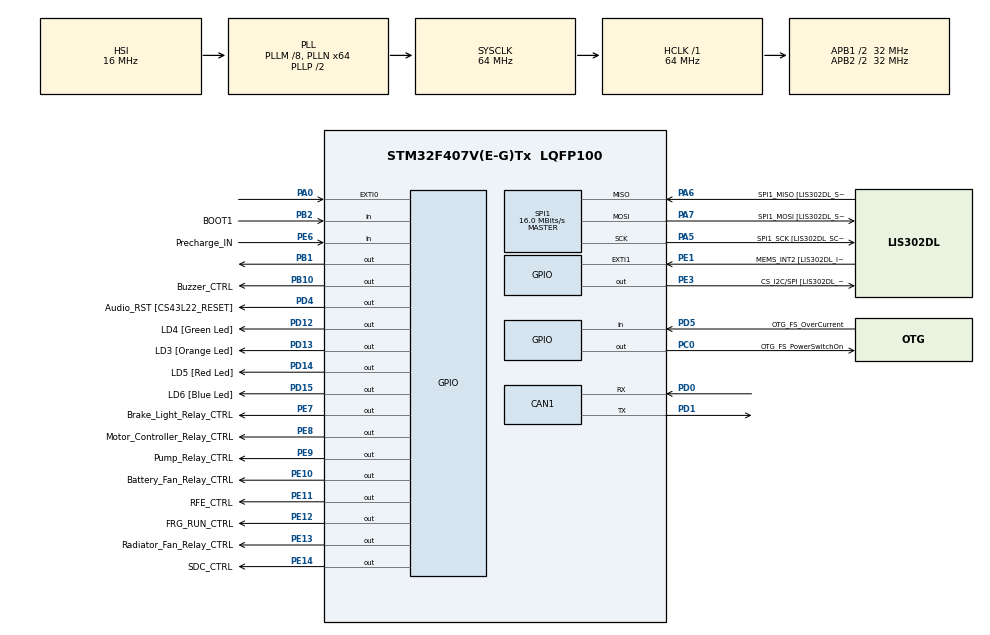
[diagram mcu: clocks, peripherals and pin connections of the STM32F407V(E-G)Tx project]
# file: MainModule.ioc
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CAN1.ABOM=ENABLE
CAN1.BS1=CAN_BS1_2TQ
CAN1.BS2=CAN_BS2_1TQ
CAN1.CalculateTimeBit=2000
CAN1.CalculateTimeQuantum=500.0
CAN1.SJW=CAN_SJW_2TQ
FREERTOS.Tasks01=defaultTask,0,128,StartDefaultTask,Default
Mcu.Family=STM32F4
Mcu.Name=STM32F407V(E-G)Tx
Mcu.Package=LQFP100
NVIC.CAN1_RX0_IRQn=true\:5\:0\:false\:false\:true\:true
NVIC.CAN1_RX1_IRQn=true\:5\:0\:false\:false\:true\:true
NVIC.CAN1_TX_IRQn=true\:5\:0\:false\:false\:true\:true
NVIC.EXTI0_IRQn=true\:5\:0\:false\:false\:true\:true
NVIC.PriorityGroup=NVIC_PRIORITYGROUP_4
NVIC.TIM1_UP_TIM10_IRQn=true\:0\:0\:false\:false\:true\:false
NVIC.TimeBase=TIM1_UP_TIM10_IRQn
NVIC.TimeBaseIP=TIM1
PA0-WKUP.GPIO_PuPd=GPIO_PULLDOWN
PA0-WKUP.Signal=GPXTI0
PA1.GPIO_Label=Throttle_1
PA1.Signal=ADCx_IN1
PA10.GPIO_Label=OTG_FS_ID
PA10.GPIO_Mode=GPIO_MODE_AF_PP
PA10.GPIO_PuPd=GPIO_NOPULL
PA10.GPIO_Speed=GPIO_SPEED_FREQ_LOW
PA10.Signal=USB_OTG_FS_ID
PA11.GPIO_Label=OTG_FS_DM
PA11.GPIO_Mode=GPIO_MODE_AF_PP
PA11.GPIO_PuPd=GPIO_NOPULL
PA11.GPIO_Speed=GPIO_SPEED_FREQ_LOW
PA11.Signal=USB_OTG_FS_DM
PA12.GPIO_Label=OTG_FS_DP
PA12.GPIO_Mode=GPIO_MODE_AF_PP
PA12.GPIO_PuPd=GPIO_NOPULL
PA12.GPIO_Speed=GPIO_SPEED_FREQ_LOW
PA12.Signal=USB_OTG_FS_DP
PA13.GPIO_Label=SWDIO
PA13.Mode=Serial_Wire
PA13.Signal=SYS_JTMS-SWDIO
PA14.GPIO_Label=SWCLK
PA14.Mode=Serial_Wire
PA14.Signal=SYS_JTCK-SWCLK
PA2.GPIO_Label=Throttle_2
PA2.Signal=ADCx_IN2
PA4.GPIO_Label=I2S3_WS [CS43L22_LRCK]
PA4.GPIO_Mode=GPIO_MODE_AF_PP
PA4.GPIO_PuPd=GPIO_NOPULL
PA4.GPIO_Speed=GPIO_SPEED_FREQ_LOW
PA4.Signal=I2S3_WS
PA5.GPIO_Label=SPI1_SCK [LIS302DL_SCL/SPC]
PA5.GPIO_Mode=GPIO_MODE_AF_PP
PA5.GPIO_PuPd=GPIO_NOPULL
PA5.GPIO_Speed=GPIO_SPEED_FREQ_LOW
PA5.Mode=Full_Duplex_Master
PA5.Signal=SPI1_SCK
PA6.GPIO_Label=SPI1_MISO [LIS302DL_SDO]
PA6.GPIO_Mode=GPIO_MODE_AF_PP
PA6.GPIO_PuPd=GPIO_NOPULL
PA6.GPIO_Speed=GPIO_SPEED_FREQ_LOW
PA6.Mode=Full_Duplex_Master
PA6.Signal=SPI1_MISO
PA7.GPIO_Label=SPI1_MOSI [LIS302DL_SDA/SDI/SDO]
PA7.GPIO_Mode=GPIO_MODE_AF_PP
PA7.GPIO_PuPd=GPIO_NOPULL
PA7.GPIO_Speed=GPIO_SPEED_FREQ_LOW
PA7.Mode=Full_Duplex_Master
PA7.Signal=SPI1_MOSI
PA9.GPIO_Label=VBUS_FS
PA9.GPIO_Mode=GPIO_MODE_INPUT
PA9.GPIO_PuPd=GPIO_NOPULL
PA9.Signal=USB_OTG_FS_VBUS
PB1.Signal=GPIO_Output
PB10.GPIO_Label=Buzzer_CTRL
PB10.Signal=GPIO_Output
PB2.GPIO_Label=BOOT1
PB2.GPIO_Mode=GPIO_MODE_INPUT
PB2.GPIO_PuPd=GPIO_NOPULL
PB2.Signal=GPIO_Input
PB3.GPIO_Label=SWO
PB3.Signal=SYS_JTDO-SWO
PB6.GPIO_Label=Audio_SCL [CS43L22_SCL]
PB6.GPIO_Mode=GPIO_MODE_AF_OD
PB6.GPIO_PuPd=GPIO_NOPULL
PB6.GPIO_Speed=GPIO_SPEED_FREQ_LOW
PB6.Signal=I2C1_SCL
PB9.GPIO_Label=Audio_SDA [CS43L22_SDA]
PB9.GPIO_Mode=GPIO_MODE_AF_OD
PB9.GPIO_PuPd=GPIO_NOPULL
PB9.GPIO_Speed=GPIO_SPEED_FREQ_LOW
PB9.Signal=I2C1_SDA
PC0.GPIO_Label=OTG_FS_PowerSwitchOn
PC0.GPIO_PuPd=GPIO_NOPULL
PC0.GPIO_Speed=GPIO_SPEED_FREQ_LOW
PC0.PinState=GPIO_PIN_SET
PC0.Signal=GPIO_Output
PC1.GPIO_Label=Brake_1
PC1.Signal=ADCx_IN11
PC10.GPIO_Label=I2S3_SCK [CS43L22_SCLK]
PC10.GPIO_Mode=GPIO_MODE_AF_PP
PC10.GPIO_PuPd=GPIO_NOPULL
PC10.GPIO_Speed=GPIO_SPEED_FREQ_LOW
PC10.Signal=I2S3_CK
PC12.GPIO_Label=I2S3_SD [CS43L22_SDIN]
PC12.GPIO_Mode=GPIO_MODE_AF_PP
PC12.GPIO_PuPd=GPIO_NOPULL
PC12.GPIO_Speed=GPIO_SPEED_FREQ_LOW
PC12.Signal=I2S3_SD
PC14-OSC32_IN.GPIO_Label=PC14-OSC32_IN
PC14-OSC32_IN.Signal=RCC_OSC32_IN
PC15-OSC32_OUT.GPIO_Label=PC15-OSC32_OUT
PC15-OSC32_OUT.Signal=RCC_OSC32_OUT
PC2.GPIO_Label=Brake_2
PC2.Signal=ADCx_IN12
PC3.GPIO_Label=PDM_OUT [MP45DT02_DOUT]
PC3.GPIO_Mode=GPIO_MODE_AF_PP
PC3.GPIO_PuPd=GPIO_NOPULL
PC3.GPIO_Speed=GPIO_SPEED_FREQ_LOW
PC3.Signal=I2S2_SD
PC7.GPIO_Label=I2S3_MCK [CS43L22_MCLK]
PC7.GPIO_Mode=GPIO_MODE_AF_PP
PC7.GPIO_PuPd=GPIO_NOPULL
PC7.GPIO_Speed=GPIO_SPEED_FREQ_LOW
PC7.Signal=I2S3_MCK
PD0.Mode=Master
PD0.Signal=CAN1_RX
PD1.Mode=Master
PD1.Signal=CAN1_TX
PD12.GPIO_Label=LD4 [Green Led]
PD12.GPIO_PuPd=GPIO_NOPULL
PD12.GPIO_Speed=GPIO_SPEED_FREQ_LOW
PD12.Signal=GPIO_Output
PD13.GPIO_Label=LD3 [Orange Led]
PD13.GPIO_PuPd=GPIO_NOPULL
PD13.GPIO_Speed=GPIO_SPEED_FREQ_LOW
PD13.Signal=GPIO_Output
PD14.GPIO_Label=LD5 [Red Led]
PD14.GPIO_PuPd=GPIO_NOPULL
PD14.GPIO_Speed=GPIO_SPEED_FREQ_LOW
PD14.Signal=GPIO_Output
PD15.GPIO_Label=LD6 [Blue Led]
PD15.GPIO_PuPd=GPIO_NOPULL
PD15.GPIO_Speed=GPIO_SPEED_FREQ_LOW
PD15.Signal=GPIO_Output
PD4.GPIO_Label=Audio_RST [CS43L22_RESET]
PD4.GPIO_PuPd=GPIO_NOPULL
PD4.GPIO_Speed=GPIO_SPEED_FREQ_LOW
PD4.Signal=GPIO_Output
PD5.GPIO_Label=OTG_FS_OverCurrent
PD5.GPIO_Mode=GPIO_MODE_INPUT
PD5.GPIO_PuPd=GPIO_NOPULL
PD5.Signal=GPIO_Input
PE1.GPIO_Label=MEMS_INT2 [LIS302DL_INT2]
PE1.GPIO_ModeDefaultEXTI=GPIO_MODE_EVT_RISING
PE1.GPIO_PuPd=GPIO_NOPULL
PE1.Signal=GPXTI1
PE10.GPIO_Label=Battery_Fan_Relay_CTRL
PE10.Signal=GPIO_Output
PE11.GPIO_Label=RFE_CTRL
PE11.Signal=GPIO_Output
PE12.GPIO_Label=FRG_RUN_CTRL
PE12.Signal=GPIO_Output
PE13.GPIO_Label=Radiator_Fan_Relay_CTRL
PE13.Signal=GPIO_Output
PE14.GPIO_Label=SDC_CTRL
PE14.Signal=GPIO_Output
PE3.GPIO_Label=CS_I2C/SPI [LIS302DL_CS_I2C/SPI]
PE3.GPIO_PuPd=GPIO_NOPULL
PE3.GPIO_Speed=GPIO_SPEED_FREQ_LOW
PE3.Signal=GPIO_Output
PE6.GPIO_Label=Precharge_IN
PE6.Signal=GPIO_Input
PE7.GPIO_Label=Brake_Light_Relay_CTRL
PE7.Signal=GPIO_Output
PE8.GPIO_Label=Motor_Controller_Relay_CTRL
PE8.Signal=GPIO_Output
PE9.GPIO_Label=Pump_Relay_CTRL
PE9.Signal=GPIO_Output
PH0-OSC_IN.GPIO_Label=PH0-OSC_IN
PH0-OSC_IN.Signal=RCC_OSC_IN
PH1-OSC_OUT.GPIO_Label=PH1-OSC_OUT
PH1-OSC_OUT.Signal=RCC_OSC_OUT
ProjectManager.HeapSize=0x400
ProjectManager.StackSize=0x800
ProjectManager.TargetToolchain=SW4STM32
RCC.48MHZClocksFreq_Value=18285714.285714287
RCC.AHBFreq_Value=64000000
RCC.APB1CLKDivider=RCC_HCLK_DIV2
RCC.APB1Freq_Value=32000000
RCC.APB1TimFreq_Value=64000000
RCC.APB2CLKDivider=RCC_HCLK_DIV2
RCC.APB2Freq_Value=32000000
RCC.APB2TimFreq_Value=64000000
RCC.CortexFreq_Value=64000000
RCC.HCLKFreq_Value=64000000
RCC.HSE_VALUE=8000000
RCC.HSI_VALUE=16000000
RCC.LSE_VALUE=32768
RCC.PLLM=8
RCC.PLLN=64
RCC.PLLQ=7
RCC.SYSCLKFreq_VALUE=64000000
RCC.SYSCLKSource=RCC_SYSCLKSOURCE_PLLCLK
RCC.VCOOutputFreq_Value=128000000
SH.ADCx_IN1.0=ADC2_IN1
SH.ADCx_IN11.0=ADC1_IN11
SH.ADCx_IN12.0=ADC1_IN12
SH.ADCx_IN2.0=ADC2_IN2
SPI1.CalculateBaudRate=16.0 MBits/s
SPI1.Direction=SPI_DIRECTION_2LINES
SPI1.Mode=SPI_MODE_MASTER
SPI1.VirtualType=VM_MASTER
VP_FREERTOS_VS_ENABLE.Mode=Enabled
VP_SYS_VS_tim1.Mode=TIM1
board=STM32F407G-DISC1

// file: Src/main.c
/**
  ******************************************************************************
  * File Name          : main.c
  * Description        : Main program body
  ******************************************************************************
  * This notice applies to any and all portions of this file
  * that are not between comment pairs USER CODE BEGIN and
  * USER CODE END. Other portions of this file, whether
  * inserted by the user or by software development tools
  * are owned by their respective copyright owners.
  *
  * Copyright (c) 2018 STMicroelectronics International N.V.
  * All rights reserved.
  *
  * Redistribution and use in source and binary forms, with or without
  * modification, are permitted, provided that the following conditions are met:
  *
  * 1. Redistribution of source code must retain the above copyright notice,
  *    this list of conditions and the following disclaimer.
  * 2. Redistributions in binary form must reproduce the above copyright notice,
  *    this list of conditions and the following disclaimer in the documentation
  *    and/or other materials provided with the distribution.
  * 3. Neither the name of STMicroelectronics nor the names of other
  *    contributors to this software may be used to endorse or promote products
  *    derived from this software without specific written permission.
  * 4. This software, including modifications and/or derivative works of this
  *    software, must execute solely and exclusively on microcontroller or
  *    microprocessor devices manufactured by or for STMicroelectronics.
  * 5. Redistribution and use of this software other than as permitted under
  *    this license is void and will automatically terminate your rights under
  *    this license.
  *
  * THIS SOFTWARE IS PROVIDED BY STMICROELECTRONICS AND CONTRIBUTORS "AS IS"
  * AND ANY EXPRESS, IMPLIED OR STATUTORY WARRANTIES, INCLUDING, BUT NOT
  * LIMITED TO, THE IMPLIED WARRANTIES OF MERCHANTABILITY, FITNESS FOR A
  * PARTICULAR PURPOSE AND NON-INFRINGEMENT OF THIRD PARTY INTELLECTUAL PROPERTY
  * RIGHTS ARE DISCLAIMED TO THE FULLEST EXTENT PERMITTED BY LAW. IN NO EVENT
  * SHALL STMICROELECTRONICS OR CONTRIBUTORS BE LIABLE FOR ANY DIRECT, INDIRECT,
  * INCIDENTAL, SPECIAL, EXEMPLARY, OR CONSEQUENTIAL DAMAGES (INCLUDING, BUT NOT
  * LIMITED TO, PROCUREMENT OF SUBSTITUTE GOODS OR SERVICES; LOSS OF USE, DATA,
  * OR PROFITS; OR BUSINESS INTERRUPTION) HOWEVER CAUSED AND ON ANY THEORY OF
  * LIABILITY, WHETHER IN CONTRACT, STRICT LIABILITY, OR TORT (INCLUDING
  * NEGLIGENCE OR OTHERWISE) ARISING IN ANY WAY OUT OF THE USE OF THIS SOFTWARE,
  * EVEN IF ADVISED OF THE POSSIBILITY OF SUCH DAMAGE.
  *
  ******************************************************************************
  */
#include "main.h"
#include "stm32f4xx_hal.h"
#include "cmsis_os.h"

/* USER CODE BEGIN Includes */
#include "car.h"
#include "BMS.h"
#include "WheelModule.h"
#include "PedalBox.h"
#include "CANProcess.h"
#include "accelerometer.h"
/* USER CODE END Includes */

CAN_HandleTypeDef hcan1;

SPI_HandleTypeDef hspi1;

osThreadId defaultTaskHandle;

/* USER CODE BEGIN PV */
/* Private variables ---------------------------------------------------------*/
QueueHandle_t q_txcan;
SemaphoreHandle_t m_CAN;
volatile Car_t car;
BMS_t BMS;
WheelModule_t wheelModule;
/* USER CODE END PV */

void SystemClock_Config(void);
static void MX_GPIO_Init(void);
static void MX_CAN1_Init(void);
static void MX_SPI1_Init(void);
void StartDefaultTask(void const * argument);

/* USER CODE BEGIN PFP */
/* Private function prototypes -----------------------------------------------*/

/* USER CODE END PFP */

/* USER CODE BEGIN 0 */
__attribute__((__section__(".user_data"))) const uint8_t* variable;
//RTOS_CAN_t rtos_can1;

/* USER CODE END 0 */

int main(void)
{

  /* MCU Configuration----------------------------------------------------------*/

  /* Reset of all peripherals, Initializes the Fl6jash interface and the Systick. */
  HAL_Init();

  /* Configure the system clock */
  SystemClock_Config();

  /* Initialize all configured peripherals */
  MX_GPIO_Init();
  MX_CAN1_Init();
  MX_SPI1_Init();

  /* USER CODE BEGIN 2 */
  //START HERE///////////////////////////////////////////////////////////////
  carInit();
  Accelero_Init(Sensitivity_4G);
  CANFilterConfig();
  initRTOSObjects();

  //TaskHandle_t taskhandle;
  //xTaskCreate(taskBlink, "blink", 128, NULL, 5, &taskhandle);
  /* USER CODE END 2 */

  /* Create the thread(s) */
  /* definition and creation of defaultTask */
  osThreadDef(defaultTask, StartDefaultTask, osPriorityNormal, 0, 128);
  defaultTaskHandle = osThreadCreate(osThread(defaultTask), NULL);

  /* Start scheduler */
  osKernelStart();

  /* We should never get here as control is now taken by the scheduler */

  /* Infinite loop */
  while (1)
  {

  }

}

/** System Clock Configuration
*/
void SystemClock_Config(void)
{

  RCC_OscInitTypeDef RCC_OscInitStruct;
  RCC_ClkInitTypeDef RCC_ClkInitStruct;

    /**Configure the main internal regulator output voltage
    */
  __HAL_RCC_PWR_CLK_ENABLE();

  __HAL_PWR_VOLTAGESCALING_CONFIG(PWR_REGULATOR_VOLTAGE_SCALE1);

    /**Initializes the CPU, AHB and APB busses clocks
    */
  RCC_OscInitStruct.OscillatorType = RCC_OSCILLATORTYPE_HSI;
  RCC_OscInitStruct.HSIState = RCC_HSI_ON;
  RCC_OscInitStruct.HSICalibrationValue = 16;
  RCC_OscInitStruct.PLL.PLLState = RCC_PLL_ON;
  RCC_OscInitStruct.PLL.PLLSource = RCC_PLLSOURCE_HSI;
  RCC_OscInitStruct.PLL.PLLM = 8;
  RCC_OscInitStruct.PLL.PLLN = 64;
  RCC_OscInitStruct.PLL.PLLP = RCC_PLLP_DIV2;
  RCC_OscInitStruct.PLL.PLLQ = 7;
  if (HAL_RCC_OscConfig(&RCC_OscInitStruct) != HAL_OK)
  {
    _Error_Handler(__FILE__, __LINE__);
  }

    /**Initializes the CPU, AHB and APB busses clocks
    */
  RCC_ClkInitStruct.ClockType = RCC_CLOCKTYPE_HCLK|RCC_CLOCKTYPE_SYSCLK
                              |RCC_CLOCKTYPE_PCLK1|RCC_CLOCKTYPE_PCLK2;
  RCC_ClkInitStruct.SYSCLKSource = RCC_SYSCLKSOURCE_PLLCLK;
  RCC_ClkInitStruct.AHBCLKDivider = RCC_SYSCLK_DIV1;
  RCC_ClkInitStruct.APB1CLKDivider = RCC_HCLK_DIV2;
  RCC_ClkInitStruct.APB2CLKDivider = RCC_HCLK_DIV2;

  if (HAL_RCC_ClockConfig(&RCC_ClkInitStruct, FLASH_LATENCY_2) != HAL_OK)
  {
    _Error_Handler(__FILE__, __LINE__);
  }

    /**Configure the Systick interrupt time
    */
  HAL_SYSTICK_Config(HAL_RCC_GetHCLKFreq()/1000);

    /**Configure the Systick
    */
  HAL_SYSTICK_CLKSourceConfig(SYSTICK_CLKSOURCE_HCLK);

  /* SysTick_IRQn interrupt configuration */
  HAL_NVIC_SetPriority(SysTick_IRQn, 15, 0);
}

/* CAN1 init function */
static void MX_CAN1_Init(void)
{

  hcan1.Instance = CAN1;
  hcan1.Init.Prescaler = 16;
  hcan1.Init.Mode = CAN_MODE_NORMAL;
  hcan1.Init.SJW = CAN_SJW_2TQ;
  hcan1.Init.BS1 = CAN_BS1_2TQ;
  hcan1.Init.BS2 = CAN_BS2_1TQ;
  hcan1.Init.TTCM = DISABLE;
  hcan1.Init.ABOM = ENABLE;
  hcan1.Init.AWUM = DISABLE;
  hcan1.Init.NART = DISABLE;
  hcan1.Init.RFLM = DISABLE;
  hcan1.Init.TXFP = DISABLE;
  if (HAL_CAN_Init(&hcan1) != HAL_OK)
  {
    _Error_Handler(__FILE__, __LINE__);
  }

}

/* SPI1 init function */
static void MX_SPI1_Init(void)
{

  hspi1.Instance = SPI1;
  hspi1.Init.Mode = SPI_MODE_MASTER;
  hspi1.Init.Direction = SPI_DIRECTION_2LINES;
  hspi1.Init.DataSize = SPI_DATASIZE_8BIT;
  hspi1.Init.CLKPolarity = SPI_POLARITY_LOW;
  hspi1.Init.CLKPhase = SPI_PHASE_1EDGE;
  hspi1.Init.NSS = SPI_NSS_SOFT;
  hspi1.Init.BaudRatePrescaler = SPI_BAUDRATEPRESCALER_2;
  hspi1.Init.FirstBit = SPI_FIRSTBIT_MSB;
  hspi1.Init.TIMode = SPI_TIMODE_DISABLE;
  hspi1.Init.CRCCalculation = SPI_CRCCALCULATION_DISABLE;
  hspi1.Init.CRCPolynomial = 10;
  if (HAL_SPI_Init(&hspi1) != HAL_OK)
  {
    _Error_Handler(__FILE__, __LINE__);
  }

}

/** Configure pins as
        * Analog
        * Input
        * Output
        * EVENT_OUT
        * EXTI
     PC1   ------> ADCx_IN11
     PC2   ------> ADCx_IN12
     PC3   ------> I2S2_SD
     PA1   ------> ADCx_IN1
     PA2   ------> ADCx_IN2
     PA4   ------> I2S3_WS
     PC7   ------> I2S3_MCK
     PA9   ------> USB_OTG_FS_VBUS
     PA10   ------> USB_OTG_FS_ID
     PA11   ------> USB_OTG_FS_DM
     PA12   ------> USB_OTG_FS_DP
     PC10   ------> I2S3_CK
     PC12   ------> I2S3_SD
     PB6   ------> I2C1_SCL
     PB9   ------> I2C1_SDA
*/
static void MX_GPIO_Init(void)
{

  GPIO_InitTypeDef GPIO_InitStruct;

  /* GPIO Ports Clock Enable */
  __HAL_RCC_GPIOE_CLK_ENABLE();
  __HAL_RCC_GPIOC_CLK_ENABLE();
  __HAL_RCC_GPIOH_CLK_ENABLE();
  __HAL_RCC_GPIOA_CLK_ENABLE();
  __HAL_RCC_GPIOB_CLK_ENABLE();
  __HAL_RCC_GPIOD_CLK_ENABLE();

  /*Configure GPIO pin Output Level */
  HAL_GPIO_WritePin(GPIOE, CS_I2C_SPI_Pin|Brake_Light_Relay_CTRL_Pin|Motor_Controller_Relay_CTRL_Pin|Pump_Relay_CTRL_Pin
                          |Battery_Fan_Relay_CTRL_Pin|RFE_CTRL_Pin|FRG_RUN_CTRL_Pin|Radiator_Fan_Relay_CTRL_Pin
                          |SDC_CTRL_Pin, GPIO_PIN_RESET);

  /*Configure GPIO pin Output Level */
  HAL_GPIO_WritePin(OTG_FS_PowerSwitchOn_GPIO_Port, OTG_FS_PowerSwitchOn_Pin, GPIO_PIN_SET);

  /*Configure GPIO pin Output Level */
  HAL_GPIO_WritePin(GPIOB, GPIO_PIN_1|Buzzer_CTRL_Pin, GPIO_PIN_RESET);

  /*Configure GPIO pin Output Level */
  HAL_GPIO_WritePin(GPIOD, LD4_Pin|LD3_Pin|LD5_Pin|LD6_Pin
                          |Audio_RST_Pin, GPIO_PIN_RESET);

  /*Configure GPIO pins : CS_I2C_SPI_Pin Brake_Light_Relay_CTRL_Pin Motor_Controller_Relay_CTRL_Pin Pump_Relay_CTRL_Pin
                           Battery_Fan_Relay_CTRL_Pin RFE_CTRL_Pin FRG_RUN_CTRL_Pin Radiator_Fan_Relay_CTRL_Pin
                           SDC_CTRL_Pin */
  GPIO_InitStruct.Pin = CS_I2C_SPI_Pin|Brake_Light_Relay_CTRL_Pin|Motor_Controller_Relay_CTRL_Pin|Pump_Relay_CTRL_Pin
                          |Battery_Fan_Relay_CTRL_Pin|RFE_CTRL_Pin|FRG_RUN_CTRL_Pin|Radiator_Fan_Relay_CTRL_Pin
                          |SDC_CTRL_Pin;
  GPIO_InitStruct.Mode = GPIO_MODE_OUTPUT_PP;
  GPIO_InitStruct.Pull = GPIO_NOPULL;
  GPIO_InitStruct.Speed = GPIO_SPEED_FREQ_LOW;
  HAL_GPIO_Init(GPIOE, &GPIO_InitStruct);

  /*Configure GPIO pin : Precharge_IN_Pin */
  GPIO_InitStruct.Pin = Precharge_IN_Pin;
  GPIO_InitStruct.Mode = GPIO_MODE_INPUT;
  GPIO_InitStruct.Pull = GPIO_NOPULL;
  HAL_GPIO_Init(Precharge_IN_GPIO_Port, &GPIO_InitStruct);

  /*Configure GPIO pin : OTG_FS_PowerSwitchOn_Pin */
  GPIO_InitStruct.Pin = OTG_FS_PowerSwitchOn_Pin;
  GPIO_InitStruct.Mode = GPIO_MODE_OUTPUT_PP;
  GPIO_InitStruct.Pull = GPIO_NOPULL;
  GPIO_InitStruct.Speed = GPIO_SPEED_FREQ_LOW;
  HAL_GPIO_Init(OTG_FS_PowerSwitchOn_GPIO_Port, &GPIO_InitStruct);

  /*Configure GPIO pins : Brake_1_Pin Brake_2_Pin */
  GPIO_InitStruct.Pin = Brake_1_Pin|Brake_2_Pin;
  GPIO_InitStruct.Mode = GPIO_MODE_ANALOG;
  GPIO_InitStruct.Pull = GPIO_NOPULL;
  HAL_GPIO_Init(GPIOC, &GPIO_InitStruct);

  /*Configure GPIO pin : PDM_OUT_Pin */
  GPIO_InitStruct.Pin = PDM_OUT_Pin;
  GPIO_InitStruct.Mode = GPIO_MODE_AF_PP;
  GPIO_InitStruct.Pull = GPIO_NOPULL;
  GPIO_InitStruct.Speed = GPIO_SPEED_FREQ_LOW;
  GPIO_InitStruct.Alternate = GPIO_AF5_SPI2;
  HAL_GPIO_Init(PDM_OUT_GPIO_Port, &GPIO_InitStruct);

  /*Configure GPIO pin : PA0 */
  GPIO_InitStruct.Pin = GPIO_PIN_0;
  GPIO_InitStruct.Mode = GPIO_MODE_IT_RISING;
  GPIO_InitStruct.Pull = GPIO_PULLDOWN;
  HAL_GPIO_Init(GPIOA, &GPIO_InitStruct);

  /*Configure GPIO pins : Throttle_1_Pin Throttle_2_Pin */
  GPIO_InitStruct.Pin = Throttle_1_Pin|Throttle_2_Pin;
  GPIO_InitStruct.Mode = GPIO_MODE_ANALOG;
  GPIO_InitStruct.Pull = GPIO_NOPULL;
  HAL_GPIO_Init(GPIOA, &GPIO_InitStruct);

  /*Configure GPIO pin : I2S3_WS_Pin */
  GPIO_InitStruct.Pin = I2S3_WS_Pin;
  GPIO_InitStruct.Mode = GPIO_MODE_AF_PP;
  GPIO_InitStruct.Pull = GPIO_NOPULL;
  GPIO_InitStruct.Speed = GPIO_SPEED_FREQ_LOW;
  GPIO_InitStruct.Alternate = GPIO_AF6_SPI3;
  HAL_GPIO_Init(I2S3_WS_GPIO_Port, &GPIO_InitStruct);

  /*Configure GPIO pins : PB1 Buzzer_CTRL_Pin */
  GPIO_InitStruct.Pin = GPIO_PIN_1|Buzzer_CTRL_Pin;
  GPIO_InitStruct.Mode = GPIO_MODE_OUTPUT_PP;
  GPIO_InitStruct.Pull = GPIO_NOPULL;
  GPIO_InitStruct.Speed = GPIO_SPEED_FREQ_LOW;
  HAL_GPIO_Init(GPIOB, &GPIO_InitStruct);

  /*Configure GPIO pin : BOOT1_Pin */
  GPIO_InitStruct.Pin = BOOT1_Pin;
  GPIO_InitStruct.Mode = GPIO_MODE_INPUT;
  GPIO_InitStruct.Pull = GPIO_NOPULL;
  HAL_GPIO_Init(BOOT1_GPIO_Port, &GPIO_InitStruct);

  /*Configure GPIO pins : LD4_Pin LD3_Pin LD5_Pin LD6_Pin
                           Audio_RST_Pin */
  GPIO_InitStruct.Pin = LD4_Pin|LD3_Pin|LD5_Pin|LD6_Pin
                          |Audio_RST_Pin;
  GPIO_InitStruct.Mode = GPIO_MODE_OUTPUT_PP;
  GPIO_InitStruct.Pull = GPIO_NOPULL;
  GPIO_InitStruct.Speed = GPIO_SPEED_FREQ_LOW;
  HAL_GPIO_Init(GPIOD, &GPIO_InitStruct);

  /*Configure GPIO pins : I2S3_MCK_Pin I2S3_SCK_Pin I2S3_SD_Pin */
  GPIO_InitStruct.Pin = I2S3_MCK_Pin|I2S3_SCK_Pin|I2S3_SD_Pin;
  GPIO_InitStruct.Mode = GPIO_MODE_AF_PP;
  GPIO_InitStruct.Pull = GPIO_NOPULL;
  GPIO_InitStruct.Speed = GPIO_SPEED_FREQ_LOW;
  GPIO_InitStruct.Alternate = GPIO_AF6_SPI3;
  HAL_GPIO_Init(GPIOC, &GPIO_InitStruct);

  /*Configure GPIO pin : VBUS_FS_Pin */
  GPIO_InitStruct.Pin = VBUS_FS_Pin;
  GPIO_InitStruct.Mode = GPIO_MODE_INPUT;
  GPIO_InitStruct.Pull = GPIO_NOPULL;
  HAL_GPIO_Init(VBUS_FS_GPIO_Port, &GPIO_InitStruct);

  /*Configure GPIO pins : OTG_FS_ID_Pin OTG_FS_DM_Pin OTG_FS_DP_Pin */
  GPIO_InitStruct.Pin = OTG_FS_ID_Pin|OTG_FS_DM_Pin|OTG_FS_DP_Pin;
  GPIO_InitStruct.Mode = GPIO_MODE_AF_PP;
  GPIO_InitStruct.Pull = GPIO_NOPULL;
  GPIO_InitStruct.Speed = GPIO_SPEED_FREQ_LOW;
  GPIO_InitStruct.Alternate = GPIO_AF10_OTG_FS;
  HAL_GPIO_Init(GPIOA, &GPIO_InitStruct);

  /*Configure GPIO pin : OTG_FS_OverCurrent_Pin */
  GPIO_InitStruct.Pin = OTG_FS_OverCurrent_Pin;
  GPIO_InitStruct.Mode = GPIO_MODE_INPUT;
  GPIO_InitStruct.Pull = GPIO_NOPULL;
  HAL_GPIO_Init(OTG_FS_OverCurrent_GPIO_Port, &GPIO_InitStruct);

  /*Configure GPIO pins : Audio_SCL_Pin Audio_SDA_Pin */
  GPIO_InitStruct.Pin = Audio_SCL_Pin|Audio_SDA_Pin;
  GPIO_InitStruct.Mode = GPIO_MODE_AF_OD;
  GPIO_InitStruct.Pull = GPIO_PULLUP;
  GPIO_InitStruct.Speed = GPIO_SPEED_FREQ_LOW;
  GPIO_InitStruct.Alternate = GPIO_AF4_I2C1;
  HAL_GPIO_Init(GPIOB, &GPIO_InitStruct);

  /*Configure GPIO pin : MEMS_INT2_Pin */
  GPIO_InitStruct.Pin = MEMS_INT2_Pin;
  GPIO_InitStruct.Mode = GPIO_MODE_EVT_RISING;
  GPIO_InitStruct.Pull = GPIO_NOPULL;
  HAL_GPIO_Init(MEMS_INT2_GPIO_Port, &GPIO_InitStruct);

  /* EXTI interrupt init*/
  HAL_NVIC_SetPriority(EXTI0_IRQn, 5, 0);
  HAL_NVIC_EnableIRQ(EXTI0_IRQn);

}

/* StartDefaultTask function */
void StartDefaultTask(void const * argument)
{

  for(;;)
  {
    osDelay(1);
  }
}

void HAL_TIM_PeriodElapsedCallback(TIM_HandleTypeDef *htim)
{
  if (htim->Instance == TIM1) {
    HAL_IncTick();
  }
}

void _Error_Handler(char * file, int line)
{
  while(1)
  {
  }
}

/************************ (C) COPYRIGHT STMicroelectronics *****END OF FILE****/
